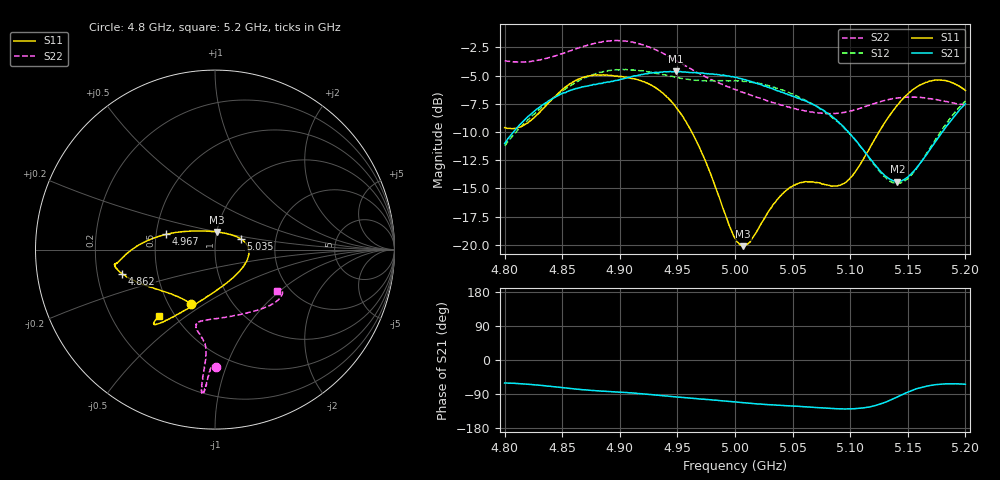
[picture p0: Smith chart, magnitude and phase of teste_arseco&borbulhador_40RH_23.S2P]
! Network Analyzer HP8722D
! Hewlett-Packard
! Data name: Linha & Wilkinson
! Saver's name: Rodrigo Anjos
! Comments: Teste da utilização de aquisição
! continua pelo VNA HP8722D
! Time and date: 15/4/2025 16:32
!  Frequency  S11  S21  S12  S22
# HZ  S  MA R 50
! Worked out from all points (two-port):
!   401 points, 4.8 GHz to 5.2 GHz, reference 50 ohm
!   highest |S21| = -4.63 dB at 4.949 GHz (marker M1); lowest = -14.4 dB at 5.141 GHz (marker M2)
!   |S21| within 3 dB of the highest: 4.833 GHz to 5.069 GHz (236.6 MHz wide, 4.78 % of centre); 5.198691 GHz to end of sweep
!   lowest |S11| = -20.1 dB at 5.007 GHz (marker M3), VSWR 1.22, Z = 50.1 + j9.91 ohm
!   |S11| at or under -10 dB: 4.962 GHz to 5.125 GHz (162.5 MHz wide, 3.22 % of centre)
!   |S22| runs from -8.4 to -1.9 dB; largest |S21 - S12| = 0.88
!   S11 on the Smith chart (normalised r, x): 4.8 GHz: 0.65, -0.44; 4.862 GHz: 0.31, -0.12; 4.967 GHz: 0.57, +0.10; 5.035 GHz: 1.32, +0.16; 5.2 GHz: 0.41, -0.40
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4.8e9  0.3306 -113.7  0.2812 -60.7  0.2746 -175.1  0.6533 -89.4
4.819e9  0.3446 -133.5  0.3647 -63.7  0.3519 -173.3  0.6488 -91.1
4.862e9  0.5357 -165.5  0.4934 -76.7  0.5255 -176.3  0.7398 -93.5
4.867e9  0.5499 -167.5  0.5008 -78.3  0.5423 -177.4  0.7548 -93.6
4.899e9  0.5567 -172.0  0.5373 -84.9  0.5958 175.9  0.8035 -95.1
4.934e9  0.4852 -178.0  0.5814 -93.2  0.5723 172.0  0.7199 -95.5
4.949e9  0.4059 174.9  0.5871 -97.2  0.5528 172.3  0.6561 -95.3
4.967e9  0.2848 162.7  0.5784 -102.0  0.5362 174.0  0.5804 -95.0
5e9  0.1073 107.6  0.5536 -110.8  0.5349 176.5  0.4878 -99.3
5.007e9  0.09856 84.0  0.5422 -112.6  0.5294 176.4  0.4732 -100.8
5.014e9  0.1047 61.6  0.5299 -114.5  0.5263 176.2  0.4604 -102.5
5.035e9  0.1542 22.9  0.4864 -118.9  0.4963 175.2  0.4245 -103.9
5.049e9  0.1804 8.2  0.4568 -121.4  0.4668 174.5  0.4049 -100.8
5.067e9  0.1901 -11.1  0.4211 -124.6  0.4215 174.1  0.388 -92.1
5.087e9  0.1821 -43.5  0.3608 -128.6  0.3573 173.8  0.3816 -77.1
5.097e9  0.1906 -64.5  0.3215 -129.1  0.3203 174.4  0.3887 -68.6
5.134e9  0.3729 -116.0  0.1958 -107.1  0.192 -159.8  0.4414 -43.4
5.141e9  0.4164 -119.9  0.1905 -97.3  0.1876 -148.9  0.4476 -40.2
5.152e9  0.4757 -124.4  0.204 -82.5  0.2013 -131.5  0.4513 -36.2
5.17e9  0.5326 -128.5  0.2673 -67.0  0.2717 -113.1  0.4442 -32.1
5.184e9  0.5324 -129.8  0.3377 -63.0  0.3482 -107.2  0.4312 -31.0
5.2e9  0.4829 -130.3  0.4218 -63.9  0.4336 -106.0  0.4158 -33.4
